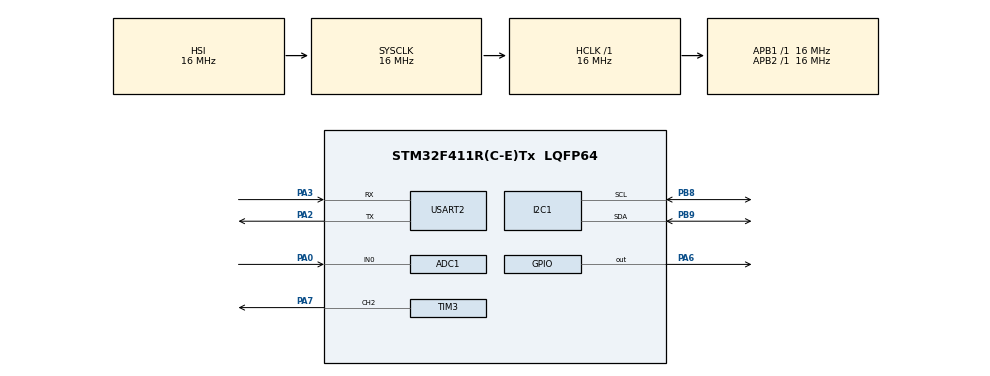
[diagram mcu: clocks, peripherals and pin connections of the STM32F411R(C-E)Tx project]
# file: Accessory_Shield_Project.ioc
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ADC1.Channel-0\#ChannelRegularConversion=ADC_CHANNEL_0
ADC1.NbrOfConversionFlag=1
ADC1.Rank-0\#ChannelRegularConversion=1
ADC1.SamplingTime-0\#ChannelRegularConversion=ADC_SAMPLETIME_3CYCLES
ADC1.master=1
I2C1.I2C_Mode=I2C_Fast
Mcu.Family=STM32F4
Mcu.Name=STM32F411R(C-E)Tx
Mcu.Package=LQFP64
NVIC.PriorityGroup=NVIC_PRIORITYGROUP_4
PA0-WKUP.Signal=ADCx_IN0
PA2.Mode=Asynchronous
PA2.Signal=USART2_TX
PA3.Mode=Asynchronous
PA3.Signal=USART2_RX
PA6.Signal=GPIO_Output
PA7.Signal=S_TIM3_CH2
PB8.GPIO_Pu=GPIO_PULLUP
PB8.Mode=I2C
PB8.Signal=I2C1_SCL
PB9.GPIO_Pu=GPIO_PULLUP
PB9.Mode=I2C
PB9.Signal=I2C1_SDA
ProjectManager.HeapSize=0x200
ProjectManager.StackSize=0x400
ProjectManager.TargetToolchain=STM32CubeIDE
RCC.AHBFreq_Value=16000000
RCC.APB1Freq_Value=16000000
RCC.APB2Freq_Value=16000000
RCC.CortexFreq_Value=16000000
RCC.HSE_VALUE=25000000
RCC.HSI_VALUE=16000000
RCC.LSE_VALUE=32768
RCC.SYSCLKFreq_VALUE=16000000
RCC.VCOOutputFreq_Value=192000000
SH.ADCx_IN0.0=ADC1_IN0,IN0
SH.S_TIM3_CH2.0=TIM3_CH2,PWM Generation2 CH2
TIM3.Channel-PWM\ Generation2\ CH2=TIM_CHANNEL_2
TIM3.Period=1000
TIM3.Prescaler=84
USART2.VirtualMode=VM_ASYNC
VP_TIM3_VS_ClockSourceINT.Mode=Internal
board=custom

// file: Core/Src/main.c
/* USER CODE BEGIN Header */
/**
  ******************************************************************************
  * @file           : main.c
  * @brief          : Main program body
  ******************************************************************************
  * @attention
  *
  * Copyright (c) 2025 STMicroelectronics.
  * All rights reserved.
  *
  * This software is licensed under terms that can be found in the LICENSE file
  * in the root directory of this software component.
  * If no LICENSE file comes with this software, it is provided AS-IS.
  *
  ******************************************************************************
  */
/* USER CODE END Header */
#include "main.h"

/* USER CODE BEGIN Includes */
//saif saif
#include "buzzer.h"
#include "ssd1306.h"
#include "ssd1306_fonts.h"
#include "stm32f4xx_hal.h"
#include <stdio.h>
#include <string.h>
#include "ssd1306_tests.h"
#include <stdbool.h>
#include "lm75.h"
#include "potentiometer.h"
#include "ds3231.h"
#include "adxl345.h"
/* USER CODE END Includes */

ADC_HandleTypeDef hadc1;

I2C_HandleTypeDef hi2c1;

TIM_HandleTypeDef htim3;

UART_HandleTypeDef huart2;

/* USER CODE BEGIN PV */
Potentiometer pot;
char uart_buf[100] , char1[100];
int16_t x, y, z;
/* USER CODE END PV */

void SystemClock_Config(void);
static void MX_GPIO_Init(void);
static void MX_I2C1_Init(void);
static void MX_TIM3_Init(void);
static void MX_ADC1_Init(void);
static void MX_USART2_UART_Init(void);

int main(void)
{

  /* MCU Configuration--------------------------------------------------------*/

  /* Reset of all peripherals, Initializes the Flash interface and the Systick. */
  HAL_Init();

  /* Configure the system clock */
  SystemClock_Config();

  /* Initialize all configured peripherals */
  MX_GPIO_Init();
  MX_I2C1_Init();
  MX_TIM3_Init();
  MX_ADC1_Init();
  MX_USART2_UART_Init();
  /* USER CODE BEGIN 2 */
 // ssd1306_Init();
  LM75_Init(&hi2c1);
  POT_Init(&pot, &hadc1, ADC_CHANNEL_0);
  DS3231_SetTime(0, 0, 0, 1, 3, 5, 25);

  ADXL345_Init();

  HAL_GPIO_WritePin(GPIOA, GPIO_PIN_6, GPIO_PIN_SET);
  HAL_Delay(500);

  HAL_GPIO_WritePin(GPIOA, GPIO_PIN_6, GPIO_PIN_RESET);

    /*ssd1306_Fill(Black);
    ssd1306_SetCursor(0, 0);
    ssd1306_WriteString("Hello STM32!", Font_7x10, White);
    ssd1306_UpdateScreen();*/  // Push to OLED
  /* USER CODE END 2 */

  /* Infinite loop */
  while (1)
  {

    /* USER CODE BEGIN 3 */

	  float tempC = LM75_ReadTemperature(&hi2c1);

	  uint8_t percent = POT_ReadPercent(&pot);

	  DS3231_Time now = DS3231_GetTime();

	  if (ADXL345_ReadXYZ(&x, &y, &z) == HAL_OK)
	          {
	              // Successfully read X, Y, Z axis data
	              // For example, output data over UART, or use it in calculations
		  sprintf(uart_buf,"Potentiometer: %d%% \t Temp: %.2f C  Time: %02d:%02d:%02d  Date: %02d/%02d/20%02d  X: %d, Y: %d, Z: %d\r\n",
				  percent, tempC , now.hour, now.minute, now.second,now.date, now.month, now.year,x, y, z);
	          }
	                  else
	                  {
	                	  sprintf(uart_buf,"Failed to read accelerometer data\r\n");
	                  }
	  // Send over UART
	  HAL_UART_Transmit(&huart2, (uint8_t*)uart_buf, strlen(uart_buf), HAL_MAX_DELAY);
	  //ssd1306_TestAll();

	  // For example, play a tone with a frequency of 2kHz and 50% duty cycle
	          //Buzzer_Play(2000, 50);

	          //HAL_Delay(1000);  // Play tone for 1 second

	          // Stop the buzzer
	         // Buzzer_Stop();
	  HAL_Delay(2000);
  }
  /* USER CODE END 3 */
}

void SystemClock_Config(void)
{
  RCC_OscInitTypeDef RCC_OscInitStruct = {0};
  RCC_ClkInitTypeDef RCC_ClkInitStruct = {0};

  /** Configure the main internal regulator output voltage
  */
  __HAL_RCC_PWR_CLK_ENABLE();
  __HAL_PWR_VOLTAGESCALING_CONFIG(PWR_REGULATOR_VOLTAGE_SCALE1);

  /** Initializes the RCC Oscillators according to the specified parameters
  * in the RCC_OscInitTypeDef structure.
  */
  RCC_OscInitStruct.OscillatorType = RCC_OSCILLATORTYPE_HSI;
  RCC_OscInitStruct.HSIState = RCC_HSI_ON;
  RCC_OscInitStruct.HSICalibrationValue = RCC_HSICALIBRATION_DEFAULT;
  RCC_OscInitStruct.PLL.PLLState = RCC_PLL_NONE;
  if (HAL_RCC_OscConfig(&RCC_OscInitStruct) != HAL_OK)
  {
    Error_Handler();
  }

  /** Initializes the CPU, AHB and APB buses clocks
  */
  RCC_ClkInitStruct.ClockType = RCC_CLOCKTYPE_HCLK|RCC_CLOCKTYPE_SYSCLK
                              |RCC_CLOCKTYPE_PCLK1|RCC_CLOCKTYPE_PCLK2;
  RCC_ClkInitStruct.SYSCLKSource = RCC_SYSCLKSOURCE_HSI;
  RCC_ClkInitStruct.AHBCLKDivider = RCC_SYSCLK_DIV1;
  RCC_ClkInitStruct.APB1CLKDivider = RCC_HCLK_DIV1;
  RCC_ClkInitStruct.APB2CLKDivider = RCC_HCLK_DIV1;

  if (HAL_RCC_ClockConfig(&RCC_ClkInitStruct, FLASH_LATENCY_0) != HAL_OK)
  {
    Error_Handler();
  }
}

static void MX_ADC1_Init(void)
{

  ADC_ChannelConfTypeDef sConfig = {0};

  /** Configure the global features of the ADC (Clock, Resolution, Data Alignment and number of conversion)
  */
  hadc1.Instance = ADC1;
  hadc1.Init.ClockPrescaler = ADC_CLOCK_SYNC_PCLK_DIV2;
  hadc1.Init.Resolution = ADC_RESOLUTION_12B;
  hadc1.Init.ScanConvMode = DISABLE;
  hadc1.Init.ContinuousConvMode = DISABLE;
  hadc1.Init.DiscontinuousConvMode = DISABLE;
  hadc1.Init.ExternalTrigConvEdge = ADC_EXTERNALTRIGCONVEDGE_NONE;
  hadc1.Init.ExternalTrigConv = ADC_SOFTWARE_START;
  hadc1.Init.DataAlign = ADC_DATAALIGN_RIGHT;
  hadc1.Init.NbrOfConversion = 1;
  hadc1.Init.DMAContinuousRequests = DISABLE;
  hadc1.Init.EOCSelection = ADC_EOC_SINGLE_CONV;
  if (HAL_ADC_Init(&hadc1) != HAL_OK)
  {
    Error_Handler();
  }

  /** Configure for the selected ADC regular channel its corresponding rank in the sequencer and its sample time.
  */
  sConfig.Channel = ADC_CHANNEL_0;
  sConfig.Rank = 1;
  sConfig.SamplingTime = ADC_SAMPLETIME_3CYCLES;
  if (HAL_ADC_ConfigChannel(&hadc1, &sConfig) != HAL_OK)
  {
    Error_Handler();
  }

}

static void MX_I2C1_Init(void)
{

  hi2c1.Instance = I2C1;
  hi2c1.Init.ClockSpeed = 400000;
  hi2c1.Init.DutyCycle = I2C_DUTYCYCLE_2;
  hi2c1.Init.OwnAddress1 = 0;
  hi2c1.Init.AddressingMode = I2C_ADDRESSINGMODE_7BIT;
  hi2c1.Init.DualAddressMode = I2C_DUALADDRESS_DISABLE;
  hi2c1.Init.OwnAddress2 = 0;
  hi2c1.Init.GeneralCallMode = I2C_GENERALCALL_DISABLE;
  hi2c1.Init.NoStretchMode = I2C_NOSTRETCH_DISABLE;
  if (HAL_I2C_Init(&hi2c1) != HAL_OK)
  {
    Error_Handler();
  }

}

static void MX_TIM3_Init(void)
{

  TIM_ClockConfigTypeDef sClockSourceConfig = {0};
  TIM_MasterConfigTypeDef sMasterConfig = {0};
  TIM_OC_InitTypeDef sConfigOC = {0};

  htim3.Instance = TIM3;
  htim3.Init.Prescaler = 84;
  htim3.Init.CounterMode = TIM_COUNTERMODE_UP;
  htim3.Init.Period = 1000;
  htim3.Init.ClockDivision = TIM_CLOCKDIVISION_DIV1;
  htim3.Init.AutoReloadPreload = TIM_AUTORELOAD_PRELOAD_DISABLE;
  if (HAL_TIM_Base_Init(&htim3) != HAL_OK)
  {
    Error_Handler();
  }
  sClockSourceConfig.ClockSource = TIM_CLOCKSOURCE_INTERNAL;
  if (HAL_TIM_ConfigClockSource(&htim3, &sClockSourceConfig) != HAL_OK)
  {
    Error_Handler();
  }
  if (HAL_TIM_PWM_Init(&htim3) != HAL_OK)
  {
    Error_Handler();
  }
  sMasterConfig.MasterOutputTrigger = TIM_TRGO_RESET;
  sMasterConfig.MasterSlaveMode = TIM_MASTERSLAVEMODE_DISABLE;
  if (HAL_TIMEx_MasterConfigSynchronization(&htim3, &sMasterConfig) != HAL_OK)
  {
    Error_Handler();
  }
  sConfigOC.OCMode = TIM_OCMODE_PWM1;
  sConfigOC.Pulse = 0;
  sConfigOC.OCPolarity = TIM_OCPOLARITY_HIGH;
  sConfigOC.OCFastMode = TIM_OCFAST_DISABLE;
  if (HAL_TIM_PWM_ConfigChannel(&htim3, &sConfigOC, TIM_CHANNEL_2) != HAL_OK)
  {
    Error_Handler();
  }
  HAL_TIM_MspPostInit(&htim3);

}

static void MX_USART2_UART_Init(void)
{

  huart2.Instance = USART2;
  huart2.Init.BaudRate = 115200;
  huart2.Init.WordLength = UART_WORDLENGTH_8B;
  huart2.Init.StopBits = UART_STOPBITS_1;
  huart2.Init.Parity = UART_PARITY_NONE;
  huart2.Init.Mode = UART_MODE_TX_RX;
  huart2.Init.HwFlowCtl = UART_HWCONTROL_NONE;
  huart2.Init.OverSampling = UART_OVERSAMPLING_16;
  if (HAL_UART_Init(&huart2) != HAL_OK)
  {
    Error_Handler();
  }

}

static void MX_GPIO_Init(void)
{
  GPIO_InitTypeDef GPIO_InitStruct = {0};

  /* GPIO Ports Clock Enable */
  __HAL_RCC_GPIOA_CLK_ENABLE();
  __HAL_RCC_GPIOB_CLK_ENABLE();

  /*Configure GPIO pin Output Level */
  HAL_GPIO_WritePin(GPIOA, GPIO_PIN_6, GPIO_PIN_RESET);

  /*Configure GPIO pin : PA6 */
  GPIO_InitStruct.Pin = GPIO_PIN_6;
  GPIO_InitStruct.Mode = GPIO_MODE_OUTPUT_PP;
  GPIO_InitStruct.Pull = GPIO_NOPULL;
  GPIO_InitStruct.Speed = GPIO_SPEED_FREQ_LOW;
  HAL_GPIO_Init(GPIOA, &GPIO_InitStruct);

}

void Error_Handler(void)
{
  __disable_irq();
  while (1)
  {
  }
}
